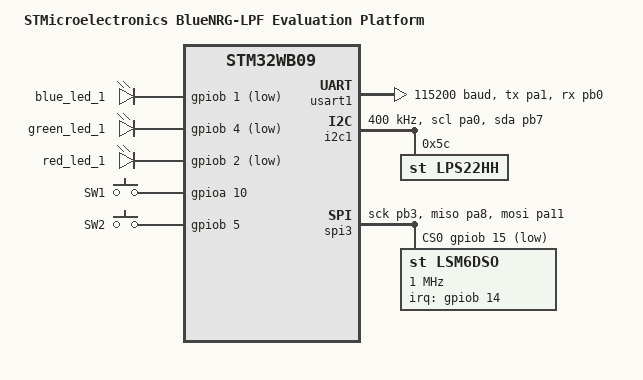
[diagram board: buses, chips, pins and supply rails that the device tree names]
/*
 * Copyright (c) 2024 STMicroelectronics
 *
 * SPDX-License-Identifier: Apache-2.0
 */

/dts-v1/;
#include <st/wb0/stm32wb09.dtsi>
#include <st/wb0/stm32wb09kevx-pinctrl.dtsi>
#include <zephyr/dt-bindings/input/input-event-codes.h>

/ {
	model = "STMicroelectronics BlueNRG-LPF Evaluation Platform";
	compatible = "st,steval-idb012v2";

	#address-cells = <1>;
	#size-cells = <1>;

	chosen {
		zephyr,console = &usart1;
		zephyr,shell-uart = &usart1;
		zephyr,sram = &sram0;
		zephyr,flash = &flash0;
	};

	leds: leds {
		compatible ="gpio-leds";
		blue_led_1: led_0 {
			gpios = <&gpiob 1 (GPIO_ACTIVE_LOW | GPIO_PULL_UP)>;
		};
		green_led_1: led_1 {
			gpios = <&gpiob 4 (GPIO_ACTIVE_LOW | GPIO_PULL_UP)>;
		};
		red_led_1: led_2 {
			gpios = <&gpiob 2 (GPIO_ACTIVE_LOW | GPIO_PULL_UP)>;
		};
	};

	gpio_keys {
		compatible = "gpio-keys";
		user_button_1: button_0 {
			label = "SW1";
			gpios = <&gpioa 10 GPIO_ACTIVE_HIGH>;
			zephyr,code = <INPUT_KEY_0>;
		};
		user_button_2: button_1 {
			label = "SW2";
			gpios = <&gpiob 5 GPIO_ACTIVE_HIGH>;
			zephyr,code = <INPUT_KEY_1>;
		};
	};

	aliases {
		led0 = &blue_led_1;
		led1 = &green_led_1;
		led2 = &red_led_1;
		sw0 = &user_button_1;
		sw1 = &user_button_2;
	};
};

&clk_lse {
	status = "okay";
};

&clk_hse {
	status = "okay";
};

&clk_hsi {
	status = "okay";
};

&pll {
	status = "okay";
};

&rcc {
	clocks = <&pll>;
	clock-frequency = <DT_FREQ_M(64)>;
	clksys-prescaler = <1>;
	slow-clock = <&clk_lse>;
};

&usart1 {
	pinctrl-0 = <&usart1_tx_pa1 &usart1_rx_pb0>;
	pinctrl-names = "default";
	current-speed = <115200>;
	status = "okay";
};

&i2c1 {
	pinctrl-0 = <&i2c1_scl_pa0 &i2c1_sda_pb7>;
	pinctrl-names = "default";
	status = "okay";
	clock-frequency = <I2C_BITRATE_FAST>;

	lps22hh@5c {
		compatible = "st,lps22hh";
		reg = <0x5c>;
	};
};

/* Map SPI3 to LSM6DSOX sensor */
&spi3 {
	pinctrl-0 = <&spi3_sck_pb3 &spi3_miso_pa8 &spi3_mosi_pa11>;
	pinctrl-names = "default";
	status = "okay";

	/* Run SPI at 64MHz */
	clocks = <&rcc STM32_CLOCK(APB1, 14)>,
		<&rcc STM32_SRC_SYSCLK SPI3_I2S3_SEL(3)>;

	cs-gpios = <&gpiob 15 GPIO_ACTIVE_LOW>;

	lsm6dso: lsm6dso@0 {
		compatible = "st,lsm6dso";
		spi-max-frequency = <1000000>;
		reg = <0>;
		irq-gpios = <&gpiob 14 GPIO_ACTIVE_HIGH>;
		int-pin = <1>;
	};
};

&flash0 {
	partitions {
		compatible = "fixed-partitions";
		#address-cells = <1>;
		#size-cells = <1>;
		/* Set 32KB of storage at the end of 512KB flash */
		storage_partition: partition@78000 {
			label = "storage";
			reg = <0x00078000 DT_SIZE_K(32)>;

		};
	};
};
